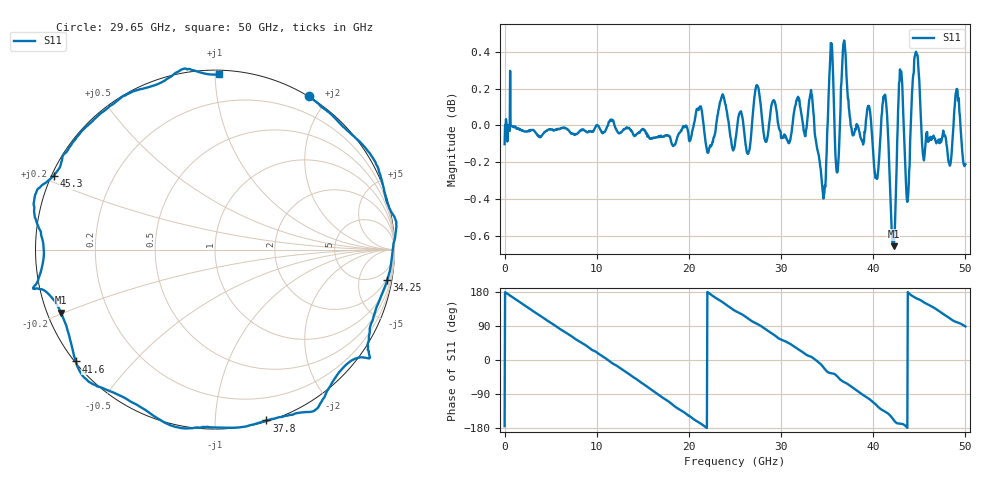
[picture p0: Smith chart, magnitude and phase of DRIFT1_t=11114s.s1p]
!Created with skrf (http://scikit-rf.org).
# Hz S RI R 50.0
!freq ReS11 ImS11
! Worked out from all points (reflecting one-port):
!   1001 points, 300 kHz to 50 GHz, reference 50 ohm
!   lowest |S11| = -0.7 dB at 42.2 GHz (marker M1), VSWR 26.48, Z = 1.96 - j9.83 ohm
!   phase of S11 starts at -175 deg and turns -817 deg over the sweep
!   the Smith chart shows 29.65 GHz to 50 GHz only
!   S11 on the Smith chart (normalised r, x): 29.65 GHz: -0.00, +1.78; 34.25 GHz: 2, -11; 37.8 GHz: 0.01, -1.34; 41.6 GHz: 0.00, -0.35; 45.3 GHz: 0.01, +0.22; 50 GHz: 0.02, +1.02
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300000  -0.984 -0.0924
1.500291e9  -0.9058 0.4187
3.30028e9  -0.5804 0.8095
6.250262e9  0.2029 0.9778
9.500243e9  0.8923 0.4424
1.250022e10  0.9317 -0.3501
1.580021e10  0.2372 -0.9628
1.74002e10  -0.2243 -0.9679
1.875019e10  -0.5985 -0.7922
2.150017e10  -0.9931 -0.1487
2.345016e10  -0.9268 0.4152
2.500015e10  -0.6339 0.7586
2.740014e10  -0.0942 1.02
2.965012e10  0.5229 0.8543
3.125011e10  0.7864 0.619
3.31001e10  1.001 0.1773
3.425009e10  0.96 -0.1677
3.520009e10  0.8562 -0.5629
3.750008e10  0.3727 -0.9326
3.780007e10  0.2862 -0.9516
3.955006e10  -0.2207 -0.9878
4.160005e10  -0.7759 -0.6232
4.220005e10  -0.8581 -0.3513
4.290004e10  -1.012 -0.2185
4.375004e10  -0.9551 0.0128
4.530003e10  -0.8991 0.4106
4.775001e10  -0.4775 0.8713
5e10  0.0242 0.9756
